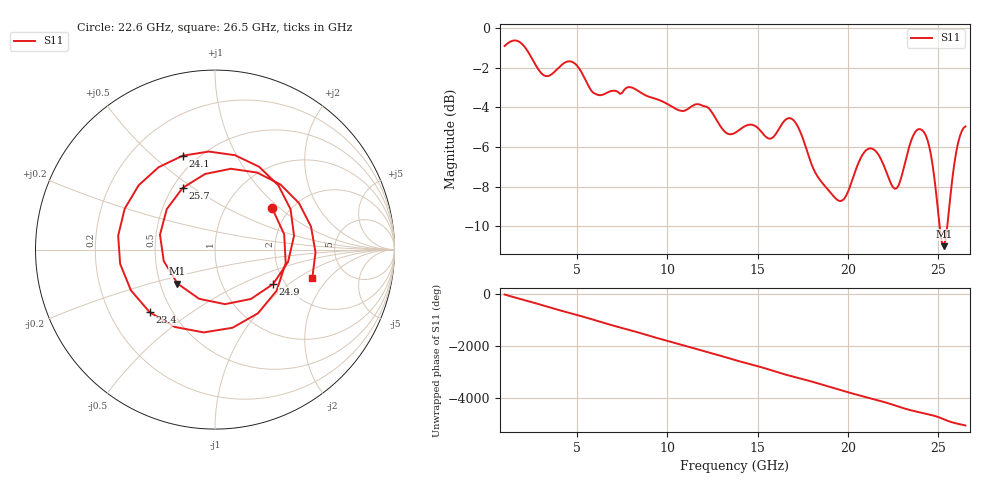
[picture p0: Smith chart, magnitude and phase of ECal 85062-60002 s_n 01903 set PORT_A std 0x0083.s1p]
!Created with skrf (http://scikit-rf.org).
# Hz S RI R 50.0
!freq ReS11 ImS11
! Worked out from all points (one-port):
!   256 points, 1 GHz to 26.5 GHz, reference 50 ohm
!   lowest |S11| = -11.0 dB at 25.3 GHz (marker M1), VSWR 1.78, Z = 30.7 - j12.6 ohm
!   |S11| at or under -10 dB: 25.08 GHz to 25.5 GHz (418.7 MHz wide, 1.66 % of centre)
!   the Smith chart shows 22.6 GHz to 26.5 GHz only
!   S11 on the Smith chart (normalised r, x): 22.6 GHz: 1.63, +0.89; 23.4 GHz: 0.38, -0.35; 24.1 GHz: 0.42, +0.63; 24.9 GHz: 1.74, -0.78; 25.7 GHz: 0.56, +0.45; 26.5 GHz: 2.89, -1.36
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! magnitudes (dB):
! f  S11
! 1 GHz  -0.9
! 1.9 GHz  -0.7
! 3.2 GHz  -2.4
! 4.2 GHz  -1.8
! 4.9 GHz  -1.8
! 6 GHz  -3.3
! 7.4 GHz  -3.3
! 8 GHz  -3.0
! 10.6 GHz  -4.1
! 12.2 GHz  -4.0
! 13.8 GHz  -5.3
! 14.7 GHz  -4.9
! 15.7 GHz  -5.6
! 17 GHz  -4.7
! 18.2 GHz  -7.3
! 19.3 GHz  -8.6
! 19.8 GHz  -8.6
! 20.2 GHz  -7.8
! 21.3 GHz  -6.1
! 22.6 GHz  -8.1
! 23.4 GHz  -6.0
! 24.1 GHz  -5.1
! 24.5 GHz  -6.0
! 24.9 GHz  -8.5
! 25.3 GHz  -11.0
! 25.7 GHz  -8.2
! 26.1 GHz  -5.8
! 26.5 GHz  -5.0
